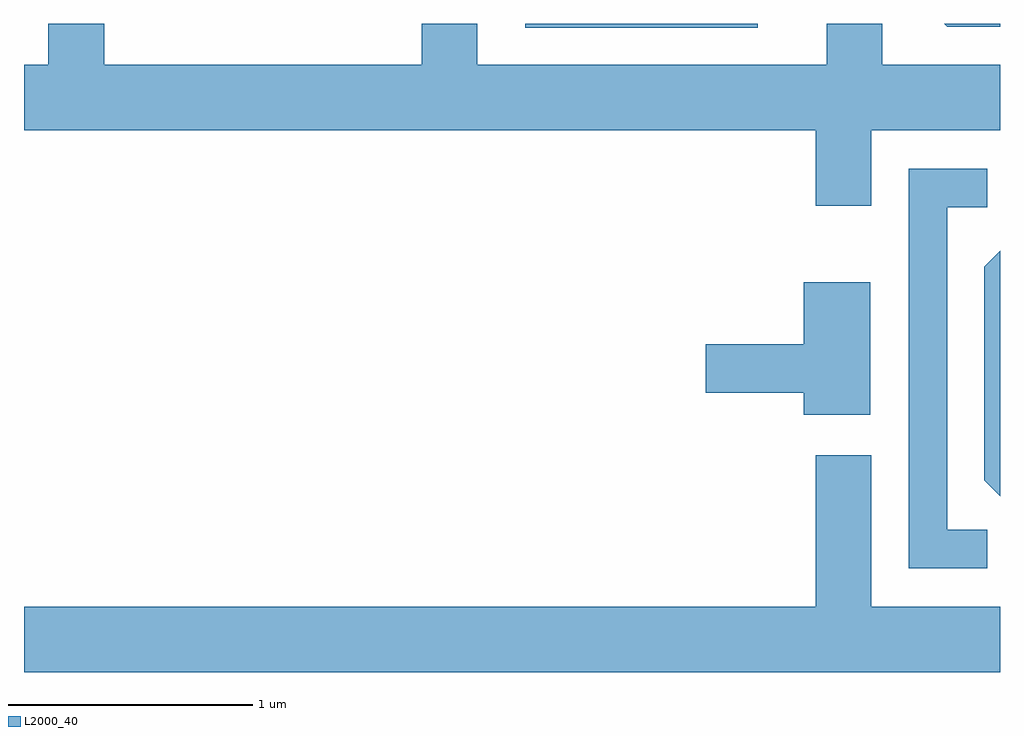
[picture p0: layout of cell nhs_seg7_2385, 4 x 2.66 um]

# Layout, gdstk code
import gdstk
lib = gdstk.Library(unit=1e-6, precision=1e-09)
def R(c, l, rs):  # rectangles x0, y0, x1, y1
    for r in rs: c.add(gdstk.rectangle(r[:2], r[2:], *l))
def P(c, l, *ps):  # polygons
    for p in ps: c.add(gdstk.Polygon(p, *l))
L2000_40 = (2000, 40)

nhs_seg7_2385 = lib.new_cell('nhs_seg7_2385')
R(nhs_seg7_2385, L2000_40, [(259.666,1770.236,260.619,1770.252)])
P(nhs_seg7_2385, L2000_40, [(261.084,1769.816),(261.611,1769.816),(261.611,1770.084),(261.129,1770.084),(261.129,1770.252),(260.901,1770.252),(260.901,1770.084),(259.469,1770.084),(259.469,1770.252),(259.241,1770.252),(259.241,1770.084),(257.939,1770.084),(257.939,1770.252),(257.711,1770.252),(257.711,1770.084),(257.611,1770.084),(257.611,1769.816),(260.856,1769.816),(260.856,1769.506),(261.084,1769.506)],
  [(261.611,1770.252),(261.383,1770.252),(261.394,1770.241),(261.611,1770.241)],
  [(261.558,1768.179),(261.394,1768.179),(261.394,1769.501),(261.558,1769.501),(261.558,1769.659),(261.236,1769.659),(261.236,1768.021),(261.558,1768.021)],
  [(261.611,1769.322),(261.546,1769.257),(261.546,1768.382),(261.611,1768.317)],
  [(261.079,1769.194),(260.806,1769.194),(260.806,1768.939),(260.406,1768.939),(260.406,1768.741),(260.806,1768.741),(260.806,1768.651),(261.079,1768.651)],
  [(260.856,1768.484),(260.856,1767.864),(257.611,1767.864),(257.611,1767.596),(261.611,1767.596),(261.611,1767.864),(261.084,1767.864),(261.084,1768.484)])

lib.write_gds('nhs_seg7_2385.gds')
